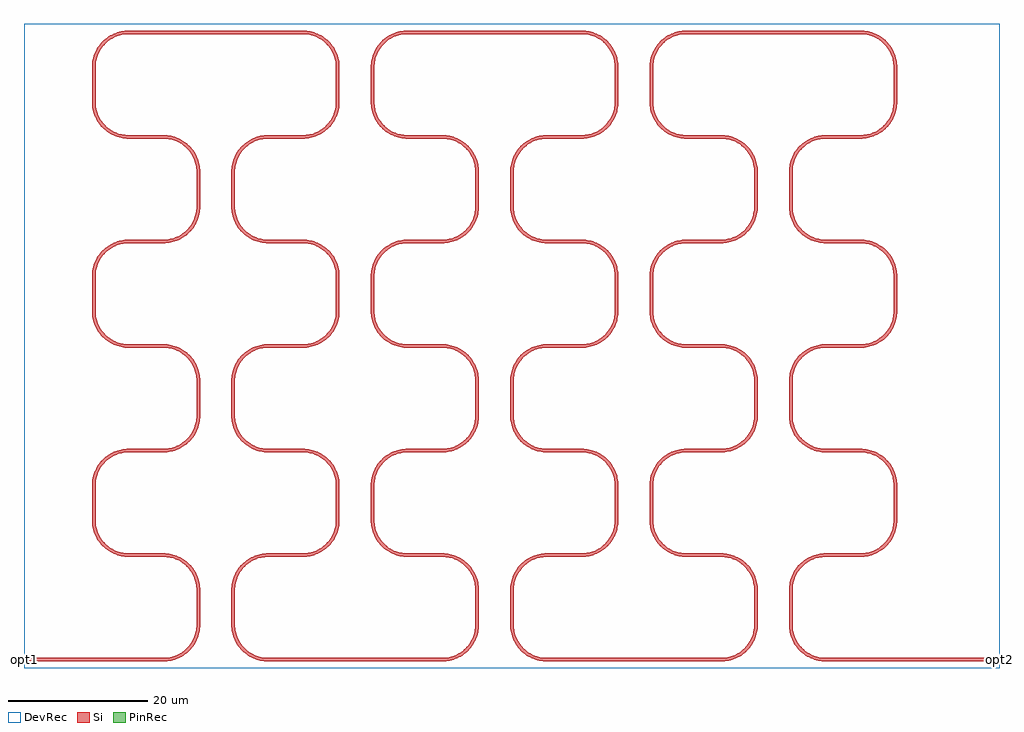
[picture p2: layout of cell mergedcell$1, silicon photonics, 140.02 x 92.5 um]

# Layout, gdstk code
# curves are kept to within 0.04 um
from math import pi, radians
import gdstk
lib = gdstk.Library(unit=1e-6, precision=1e-09)
def R(c, l, rs):  # rectangles x0, y0, x1, y1
    for r in rs: c.add(gdstk.rectangle(r[:2], r[2:], *l))
def P(c, l, *ps):  # polygons
    for p in ps: c.add(gdstk.Polygon(p, *l))
Si = (1, 0)
PinRec = (1, 10)
DevRec = (68, 0)

bend_circular_gdsfactory = lib.new_cell('bend_circular_gdsfactorypcomponentspbendspbend_circular_030d3130')
P(bend_circular_gdsfactory, Si, [(0,-0.25),(0,0.25),(0.988,0.354),(1.932,0.661),(2.587,1.016),(3.359,1.641),(3.984,2.413),(4.339,3.068),(4.646,4.012),(4.75,5),(5.25,5),(5.135,3.908),(4.796,2.865),(4.247,1.914),(3.712,1.288),(3.086,0.753),(2.135,0.204),(1.092,-0.135)])

straight_gdsfactorypcomp = lib.new_cell('straight_gdsfactorypcomponentspwaveguidespstraight_L5_N_c97c2272$1')
R(straight_gdsfactorypcomp, Si, [(0,-0.25,5,0.25)])

c_straight_gdsfactorypcomp = lib.new_cell('straight_gdsfactorypcomponentspwaveguidespstraight_L20__fccdfb5a$1')
R(c_straight_gdsfactorypcomp, Si, [(0,-0.25,20,0.25)])

cutback_bend90_gdsfactor = lib.new_cell('cutback_bend90_gdsfactorypcomponentsppcmspcutback_bend__c6473208')
cutback_bend90_gdsfactor.add(gdstk.Reference(bend_circular_gdsfactory, (5,40), rotation=pi/2))
cutback_bend90_gdsfactor.add(gdstk.Reference(straight_gdsfactorypcomp, (0,45), rotation=pi))
cutback_bend90_gdsfactor.add(gdstk.Reference(bend_circular_gdsfactory, (-10,50), rotation=3*pi/2))
cutback_bend90_gdsfactor.add(gdstk.Reference(bend_circular_gdsfactory, (20,45)))
cutback_bend90_gdsfactor.add(gdstk.Reference(straight_gdsfactorypcomp, (20,45), rotation=pi))
cutback_bend90_gdsfactor.add(gdstk.Reference(bend_circular_gdsfactory, (15,45), rotation=pi))
cutback_bend90_gdsfactor.add(gdstk.Reference(bend_circular_gdsfactory, (45,40), rotation=pi/2))
cutback_bend90_gdsfactor.add(gdstk.Reference(straight_gdsfactorypcomp, (40,45), rotation=pi))
cutback_bend90_gdsfactor.add(gdstk.Reference(bend_circular_gdsfactory, (30,50), rotation=3*pi/2))
cutback_bend90_gdsfactor.add(gdstk.Reference(c_straight_gdsfactorypcomp, (40,90)))
cutback_bend90_gdsfactor.add(gdstk.Reference(bend_circular_gdsfactory, (60,45)))
cutback_bend90_gdsfactor.add(gdstk.Reference(straight_gdsfactorypcomp, (60,45), rotation=pi))
cutback_bend90_gdsfactor.add(gdstk.Reference(bend_circular_gdsfactory, (55,45), rotation=pi))
cutback_bend90_gdsfactor.add(gdstk.Reference(bend_circular_gdsfactory, (85,40), rotation=pi/2))
cutback_bend90_gdsfactor.add(gdstk.Reference(straight_gdsfactorypcomp, (80,45), rotation=pi))
cutback_bend90_gdsfactor.add(gdstk.Reference(bend_circular_gdsfactory, (70,50), rotation=3*pi/2))
cutback_bend90_gdsfactor.add(gdstk.Reference(bend_circular_gdsfactory, (100,45)))
cutback_bend90_gdsfactor.add(gdstk.Reference(straight_gdsfactorypcomp, (100,45), rotation=pi))
cutback_bend90_gdsfactor.add(gdstk.Reference(bend_circular_gdsfactory, (95,45), rotation=pi))
cutback_bend90_gdsfactor.add(gdstk.Reference(straight_gdsfactorypcomp, (65,55), rotation=3*pi/2))
cutback_bend90_gdsfactor.add(gdstk.Reference(bend_circular_gdsfactory, (65,85), rotation=pi/2))
cutback_bend90_gdsfactor.add(gdstk.Reference(straight_gdsfactorypcomp, (65,85), rotation=3*pi/2))
cutback_bend90_gdsfactor.add(gdstk.Reference(bend_circular_gdsfactory, (60,75)))
cutback_bend90_gdsfactor.add(gdstk.Reference(straight_gdsfactorypcomp, (60,75), rotation=pi))
cutback_bend90_gdsfactor.add(gdstk.Reference(bend_circular_gdsfactory, (55,75), rotation=pi))
cutback_bend90_gdsfactor.add(gdstk.Reference(straight_gdsfactorypcomp, (50,70), rotation=3*pi/2))
cutback_bend90_gdsfactor.add(gdstk.Reference(straight_gdsfactorypcomp, (70,50), rotation=pi/2))
cutback_bend90_gdsfactor.add(gdstk.Reference(bend_circular_gdsfactory, (75,60), rotation=pi))
cutback_bend90_gdsfactor.add(gdstk.Reference(straight_gdsfactorypcomp, (75,60)))
cutback_bend90_gdsfactor.add(gdstk.Reference(bend_circular_gdsfactory, (80,60)))
cutback_bend90_gdsfactor.add(gdstk.Reference(straight_gdsfactorypcomp, (85,65), rotation=pi/2))
cutback_bend90_gdsfactor.add(gdstk.Reference(bend_circular_gdsfactory, (85,70), rotation=pi/2))
cutback_bend90_gdsfactor.add(gdstk.Reference(straight_gdsfactorypcomp, (80,75), rotation=pi))
cutback_bend90_gdsfactor.add(gdstk.Reference(bend_circular_gdsfactory, (70,80), rotation=3*pi/2))
cutback_bend90_gdsfactor.add(gdstk.Reference(straight_gdsfactorypcomp, (70,80), rotation=pi/2))
cutback_bend90_gdsfactor.add(gdstk.Reference(bend_circular_gdsfactory, (75,90), rotation=pi))
cutback_bend90_gdsfactor.add(gdstk.Reference(straight_gdsfactorypcomp, (75,90)))
cutback_bend90_gdsfactor.add(gdstk.Reference(c_straight_gdsfactorypcomp, (80,90)))
cutback_bend90_gdsfactor.add(gdstk.Reference(bend_circular_gdsfactory, (105,85), rotation=pi/2))
cutback_bend90_gdsfactor.add(gdstk.Reference(straight_gdsfactorypcomp, (105,85), rotation=3*pi/2))
cutback_bend90_gdsfactor.add(gdstk.Reference(bend_circular_gdsfactory, (100,75)))
cutback_bend90_gdsfactor.add(gdstk.Reference(straight_gdsfactorypcomp, (100,75), rotation=pi))
cutback_bend90_gdsfactor.add(gdstk.Reference(bend_circular_gdsfactory, (95,75), rotation=pi))
cutback_bend90_gdsfactor.add(gdstk.Reference(straight_gdsfactorypcomp, (90,70), rotation=3*pi/2))
cutback_bend90_gdsfactor.add(gdstk.Reference(bend_circular_gdsfactory, (90,65), rotation=3*pi/2))
cutback_bend90_gdsfactor.add(gdstk.Reference(straight_gdsfactorypcomp, (95,60)))
cutback_bend90_gdsfactor.add(gdstk.Reference(bend_circular_gdsfactory, (105,55), rotation=pi/2))
cutback_bend90_gdsfactor.add(gdstk.Reference(straight_gdsfactorypcomp, (105,55), rotation=3*pi/2))
cutback_bend90_gdsfactor.add(gdstk.Reference(bend_circular_gdsfactory, (50,65), rotation=3*pi/2))
cutback_bend90_gdsfactor.add(gdstk.Reference(straight_gdsfactorypcomp, (55,60)))
cutback_bend90_gdsfactor.add(gdstk.Reference(bend_circular_gdsfactory, (65,55), rotation=pi/2))
cutback_bend90_gdsfactor.add(gdstk.Reference(straight_gdsfactorypcomp, (20,75), rotation=pi))
cutback_bend90_gdsfactor.add(gdstk.Reference(bend_circular_gdsfactory, (15,75), rotation=pi))
cutback_bend90_gdsfactor.add(gdstk.Reference(straight_gdsfactorypcomp, (10,70), rotation=3*pi/2))
cutback_bend90_gdsfactor.add(gdstk.Reference(bend_circular_gdsfactory, (10,65), rotation=3*pi/2))
cutback_bend90_gdsfactor.add(gdstk.Reference(straight_gdsfactorypcomp, (15,60)))
cutback_bend90_gdsfactor.add(gdstk.Reference(bend_circular_gdsfactory, (25,55), rotation=pi/2))
cutback_bend90_gdsfactor.add(gdstk.Reference(straight_gdsfactorypcomp, (25,55), rotation=3*pi/2))
cutback_bend90_gdsfactor.add(gdstk.Reference(straight_gdsfactorypcomp, (-10,50), rotation=pi/2))
cutback_bend90_gdsfactor.add(gdstk.Reference(bend_circular_gdsfactory, (-5,60), rotation=pi))
cutback_bend90_gdsfactor.add(gdstk.Reference(straight_gdsfactorypcomp, (-5,60)))
cutback_bend90_gdsfactor.add(gdstk.Reference(bend_circular_gdsfactory, (0,60)))
cutback_bend90_gdsfactor.add(gdstk.Reference(straight_gdsfactorypcomp, (5,65), rotation=pi/2))
cutback_bend90_gdsfactor.add(gdstk.Reference(bend_circular_gdsfactory, (5,70), rotation=pi/2))
cutback_bend90_gdsfactor.add(gdstk.Reference(straight_gdsfactorypcomp, (30,50), rotation=pi/2))
cutback_bend90_gdsfactor.add(gdstk.Reference(bend_circular_gdsfactory, (35,60), rotation=pi))
cutback_bend90_gdsfactor.add(gdstk.Reference(straight_gdsfactorypcomp, (35,60)))
cutback_bend90_gdsfactor.add(gdstk.Reference(bend_circular_gdsfactory, (40,60)))
cutback_bend90_gdsfactor.add(gdstk.Reference(straight_gdsfactorypcomp, (45,65), rotation=pi/2))
cutback_bend90_gdsfactor.add(gdstk.Reference(bend_circular_gdsfactory, (45,70), rotation=pi/2))
cutback_bend90_gdsfactor.add(gdstk.Reference(straight_gdsfactorypcomp, (40,75), rotation=pi))
cutback_bend90_gdsfactor.add(gdstk.Reference(bend_circular_gdsfactory, (30,80), rotation=3*pi/2))
cutback_bend90_gdsfactor.add(gdstk.Reference(straight_gdsfactorypcomp, (30,80), rotation=pi/2))
cutback_bend90_gdsfactor.add(gdstk.Reference(bend_circular_gdsfactory, (35,90), rotation=pi))
cutback_bend90_gdsfactor.add(gdstk.Reference(straight_gdsfactorypcomp, (35,90)))
cutback_bend90_gdsfactor.add(gdstk.Reference(straight_gdsfactorypcomp, (0,75), rotation=pi))
cutback_bend90_gdsfactor.add(gdstk.Reference(bend_circular_gdsfactory, (-10,80), rotation=3*pi/2))
cutback_bend90_gdsfactor.add(gdstk.Reference(straight_gdsfactorypcomp, (-10,80), rotation=pi/2))
cutback_bend90_gdsfactor.add(gdstk.Reference(bend_circular_gdsfactory, (-5,90), rotation=pi))
cutback_bend90_gdsfactor.add(gdstk.Reference(straight_gdsfactorypcomp, (-5,90)))
cutback_bend90_gdsfactor.add(gdstk.Reference(c_straight_gdsfactorypcomp, (0,90)))
cutback_bend90_gdsfactor.add(gdstk.Reference(bend_circular_gdsfactory, (25,85), rotation=pi/2))
cutback_bend90_gdsfactor.add(gdstk.Reference(straight_gdsfactorypcomp, (25,85), rotation=3*pi/2))
cutback_bend90_gdsfactor.add(gdstk.Reference(bend_circular_gdsfactory, (20,75)))
cutback_bend90_gdsfactor.add(gdstk.Reference(bend_circular_gdsfactory, (45,10), rotation=pi/2))
cutback_bend90_gdsfactor.add(gdstk.Reference(straight_gdsfactorypcomp, (40,15), rotation=pi))
cutback_bend90_gdsfactor.add(gdstk.Reference(bend_circular_gdsfactory, (30,20), rotation=3*pi/2))
cutback_bend90_gdsfactor.add(gdstk.Reference(straight_gdsfactorypcomp, (30,20), rotation=pi/2))
cutback_bend90_gdsfactor.add(gdstk.Reference(bend_circular_gdsfactory, (35,30), rotation=pi))
cutback_bend90_gdsfactor.add(gdstk.Reference(straight_gdsfactorypcomp, (35,30)))
cutback_bend90_gdsfactor.add(gdstk.Reference(bend_circular_gdsfactory, (40,30)))
cutback_bend90_gdsfactor.add(gdstk.Reference(straight_gdsfactorypcomp, (45,35), rotation=pi/2))
cutback_bend90_gdsfactor.add(gdstk.Reference(bend_circular_gdsfactory, (0,30)))
cutback_bend90_gdsfactor.add(gdstk.Reference(straight_gdsfactorypcomp, (5,35), rotation=pi/2))
cutback_bend90_gdsfactor.add(gdstk.Reference(bend_circular_gdsfactory, (0,0)))
cutback_bend90_gdsfactor.add(gdstk.Reference(straight_gdsfactorypcomp, (5,5), rotation=pi/2))
cutback_bend90_gdsfactor.add(gdstk.Reference(bend_circular_gdsfactory, (5,10), rotation=pi/2))
cutback_bend90_gdsfactor.add(gdstk.Reference(straight_gdsfactorypcomp, (0,15), rotation=pi))
cutback_bend90_gdsfactor.add(gdstk.Reference(bend_circular_gdsfactory, (-10,20), rotation=3*pi/2))
cutback_bend90_gdsfactor.add(gdstk.Reference(straight_gdsfactorypcomp, (-10,20), rotation=pi/2))
cutback_bend90_gdsfactor.add(gdstk.Reference(bend_circular_gdsfactory, (-5,30), rotation=pi))
cutback_bend90_gdsfactor.add(gdstk.Reference(straight_gdsfactorypcomp, (-5,30)))
cutback_bend90_gdsfactor.add(gdstk.Reference(straight_gdsfactorypcomp, (10,40), rotation=3*pi/2))
cutback_bend90_gdsfactor.add(gdstk.Reference(bend_circular_gdsfactory, (10,35), rotation=3*pi/2))
cutback_bend90_gdsfactor.add(gdstk.Reference(straight_gdsfactorypcomp, (15,30)))
cutback_bend90_gdsfactor.add(gdstk.Reference(bend_circular_gdsfactory, (25,25), rotation=pi/2))
cutback_bend90_gdsfactor.add(gdstk.Reference(straight_gdsfactorypcomp, (25,25), rotation=3*pi/2))
cutback_bend90_gdsfactor.add(gdstk.Reference(bend_circular_gdsfactory, (20,15)))
cutback_bend90_gdsfactor.add(gdstk.Reference(straight_gdsfactorypcomp, (20,15), rotation=pi))
cutback_bend90_gdsfactor.add(gdstk.Reference(bend_circular_gdsfactory, (15,15), rotation=pi))
cutback_bend90_gdsfactor.add(gdstk.Reference(straight_gdsfactorypcomp, (10,10), rotation=3*pi/2))
cutback_bend90_gdsfactor.add(gdstk.Reference(bend_circular_gdsfactory, (10,5), rotation=3*pi/2))
cutback_bend90_gdsfactor.add(gdstk.Reference(straight_gdsfactorypcomp, (15,0)))
cutback_bend90_gdsfactor.add(gdstk.Reference(c_straight_gdsfactorypcomp, (20,0)))
cutback_bend90_gdsfactor.add(gdstk.Reference(bend_circular_gdsfactory, (40,0)))
cutback_bend90_gdsfactor.add(gdstk.Reference(straight_gdsfactorypcomp, (45,5), rotation=pi/2))
cutback_bend90_gdsfactor.add(gdstk.Reference(straight_gdsfactorypcomp, (60,15), rotation=pi))
cutback_bend90_gdsfactor.add(gdstk.Reference(bend_circular_gdsfactory, (55,15), rotation=pi))
cutback_bend90_gdsfactor.add(gdstk.Reference(straight_gdsfactorypcomp, (50,10), rotation=3*pi/2))
cutback_bend90_gdsfactor.add(gdstk.Reference(bend_circular_gdsfactory, (50,5), rotation=3*pi/2))
cutback_bend90_gdsfactor.add(gdstk.Reference(straight_gdsfactorypcomp, (55,0)))
cutback_bend90_gdsfactor.add(gdstk.Reference(c_straight_gdsfactorypcomp, (60,0)))
cutback_bend90_gdsfactor.add(gdstk.Reference(bend_circular_gdsfactory, (80,0)))
cutback_bend90_gdsfactor.add(gdstk.Reference(straight_gdsfactorypcomp, (85,5), rotation=pi/2))
cutback_bend90_gdsfactor.add(gdstk.Reference(bend_circular_gdsfactory, (85,10), rotation=pi/2))
cutback_bend90_gdsfactor.add(gdstk.Reference(straight_gdsfactorypcomp, (80,15), rotation=pi))
cutback_bend90_gdsfactor.add(gdstk.Reference(bend_circular_gdsfactory, (70,20), rotation=3*pi/2))
cutback_bend90_gdsfactor.add(gdstk.Reference(straight_gdsfactorypcomp, (70,20), rotation=pi/2))
cutback_bend90_gdsfactor.add(gdstk.Reference(bend_circular_gdsfactory, (75,30), rotation=pi))
cutback_bend90_gdsfactor.add(gdstk.Reference(straight_gdsfactorypcomp, (75,30)))
cutback_bend90_gdsfactor.add(gdstk.Reference(bend_circular_gdsfactory, (80,30)))
cutback_bend90_gdsfactor.add(gdstk.Reference(straight_gdsfactorypcomp, (85,35), rotation=pi/2))
cutback_bend90_gdsfactor.add(gdstk.Reference(straight_gdsfactorypcomp, (50,40), rotation=3*pi/2))
cutback_bend90_gdsfactor.add(gdstk.Reference(bend_circular_gdsfactory, (50,35), rotation=3*pi/2))
cutback_bend90_gdsfactor.add(gdstk.Reference(straight_gdsfactorypcomp, (55,30)))
cutback_bend90_gdsfactor.add(gdstk.Reference(bend_circular_gdsfactory, (65,25), rotation=pi/2))
cutback_bend90_gdsfactor.add(gdstk.Reference(straight_gdsfactorypcomp, (65,25), rotation=3*pi/2))
cutback_bend90_gdsfactor.add(gdstk.Reference(bend_circular_gdsfactory, (60,15)))
cutback_bend90_gdsfactor.add(gdstk.Reference(straight_gdsfactorypcomp, (90,40), rotation=3*pi/2))
cutback_bend90_gdsfactor.add(gdstk.Reference(bend_circular_gdsfactory, (90,35), rotation=3*pi/2))
cutback_bend90_gdsfactor.add(gdstk.Reference(straight_gdsfactorypcomp, (95,30)))
cutback_bend90_gdsfactor.add(gdstk.Reference(bend_circular_gdsfactory, (105,25), rotation=pi/2))
cutback_bend90_gdsfactor.add(gdstk.Reference(straight_gdsfactorypcomp, (105,25), rotation=3*pi/2))
cutback_bend90_gdsfactor.add(gdstk.Reference(bend_circular_gdsfactory, (100,15)))
cutback_bend90_gdsfactor.add(gdstk.Reference(straight_gdsfactorypcomp, (100,15), rotation=pi))
cutback_bend90_gdsfactor.add(gdstk.Reference(bend_circular_gdsfactory, (95,15), rotation=pi))
cutback_bend90_gdsfactor.add(gdstk.Reference(straight_gdsfactorypcomp, (90,10), rotation=3*pi/2))
cutback_bend90_gdsfactor.add(gdstk.Reference(bend_circular_gdsfactory, (90,5), rotation=3*pi/2))
cutback_bend90_gdsfactor.add(gdstk.Reference(straight_gdsfactorypcomp, (95,0)))

bend_test_w0p5_r5_r3_c6_ = lib.new_cell('bend_test_W0p5_R5_R3_C6_OX0_OY0_OX100_OY0$1')
bend_test_w0p5_r5_r3_c6_.add(gdstk.Reference(cutback_bend90_gdsfactor, (0,0)))

c_straight_gdsfactorypcomp_ = lib.new_cell('straight_gdsfactorypcomponentspwaveguidespstraight_L20__87ee0427$1')
R(c_straight_gdsfactorypcomp_, Si, [(0,-0.25,20,0.25)])

mergedcell_1 = lib.new_cell('mergedcell$1')
R(mergedcell_1, DevRec, [(-20,-1.25,120,91.25)])
mergedcell_1.add(gdstk.FlexPath([(-19.99,0),(-20.01,0)], 0.5, ends="flush", simple_path=True, layer=1, datatype=10))  # PinRec
mergedcell_1.add(gdstk.FlexPath([(119.99,0),(120.01,0)], 0.5, ends="flush", simple_path=True, layer=1, datatype=10))  # PinRec
mergedcell_1.add(gdstk.Reference(bend_test_w0p5_r5_r3_c6_, (0,0)))
mergedcell_1.add(gdstk.Reference(c_straight_gdsfactorypcomp_, (-20,0)))
mergedcell_1.add(gdstk.Reference(c_straight_gdsfactorypcomp_, (100,0)))
mergedcell_1.add(gdstk.Label('opt1', (-20,0), layer=1, texttype=10))
mergedcell_1.add(gdstk.Label('opt2', (120,0), layer=1, texttype=10))

lib.write_gds('mergedcell_1.gds')
